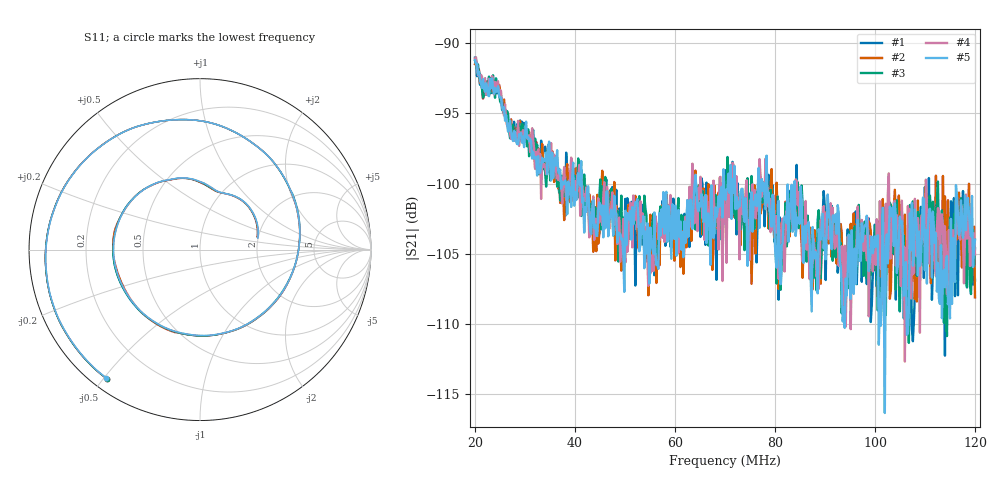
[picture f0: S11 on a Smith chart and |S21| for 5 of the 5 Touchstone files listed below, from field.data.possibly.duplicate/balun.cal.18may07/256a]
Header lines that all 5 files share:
! Anritsu VNA Master:  Model: MS2036C/10/77
! SN:  1601066
! Existing Calibration Information:
! TYPE:  Current Settings,  Active Cal Settings
! # POINTS:  500,  500
! START FREQ:  20.000 MHz,  20.000 MHz
! STOP FREQ:  120.000 MHz,  120.000 MHz
! SOURCE POWER:  High,  High
! IFBW:  50 Hz,  50 Hz
! AVG FACTOR:  1 ,  1
! REF PLANE 1:  0 mm,  0 mm
! REF PLANE 2:  0 mm,  0 mm
! CAL TYPE:  Full S11,  Full S11
! CAL METHOD:  SOLT,  SOLT
! CAL LINE TYPE:  Coax,  Coax
! DUT PORT 1:  K-Conn(F),  K-Conn(F)
! DUT PORT 2:  K-Conn(F),  K-Conn(F)
! CAL STATUS:  OK: Accuracy High,  --
# GHZ S DB R 50.0
! FREQ.GHZ  S11DB  S11A  S21DB  S21A  S12DB  S12A  S22DB  S22A
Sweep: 20 MHz to 120 MHz
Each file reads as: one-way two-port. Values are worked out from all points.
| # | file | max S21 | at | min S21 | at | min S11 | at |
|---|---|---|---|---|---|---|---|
| 1 | a.6a.m1.s2p | -91.03 dB | 20 MHz | -112.2 dB | 114 MHz | -9.3 dB | 120 MHz |
| 2 | a.6a.m3.s2p | -91.37 dB | 20.2 MHz | -108.6 dB | 106.8 MHz | -9.3 dB | 120 MHz |
| 3 | a.6a.m5.s2p | -91.25 dB | 20 MHz | -111.3 dB | 106.8 MHz | -9.2 dB | 120 MHz |
| 4 | a.6a.m12.s2p | -91.01 dB | 20.2 MHz | -112.7 dB | 106 MHz | -9.3 dB | 120 MHz |
| 5 | a.6a.m13.s2p | -91.21 dB | 20 MHz | -116.3 dB | 102 MHz | -9.2 dB | 120 MHz |
